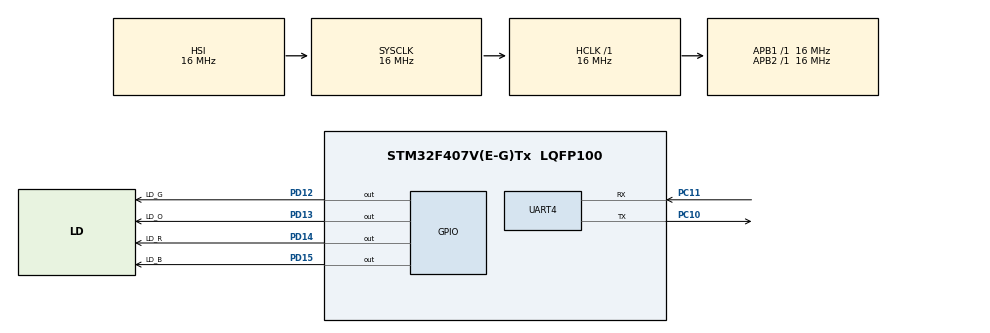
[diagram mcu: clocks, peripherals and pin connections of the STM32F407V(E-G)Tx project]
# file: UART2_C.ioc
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Mcu.Family=STM32F4
Mcu.Name=STM32F407V(E-G)Tx
Mcu.Package=LQFP100
NVIC.PriorityGroup=NVIC_PRIORITYGROUP_4
NVIC.UART4_IRQn=true\:0\:0\:false\:false\:true\:true\:true\:true
PC10.Mode=Asynchronous
PC10.Signal=UART4_TX
PC11.Mode=Asynchronous
PC11.Signal=UART4_RX
PD12.GPIO_Label=LD_G
PD12.Signal=GPIO_Output
PD13.GPIO_Label=LD_O
PD13.Signal=GPIO_Output
PD14.GPIO_Label=LD_R
PD14.Signal=GPIO_Output
PD15.GPIO_Label=LD_B
PD15.Signal=GPIO_Output
ProjectManager.HeapSize=0x200
ProjectManager.StackSize=0x400
ProjectManager.TargetToolchain=STM32CubeIDE
RCC.AHBFreq_Value=16000000
RCC.APB1Freq_Value=16000000
RCC.APB2Freq_Value=16000000
RCC.CortexFreq_Value=16000000
RCC.HSE_VALUE=25000000
RCC.HSI_VALUE=16000000
RCC.LSE_VALUE=32768
RCC.SYSCLKFreq_VALUE=16000000
RCC.VCOOutputFreq_Value=192000000
UART4.VirtualMode=Asynchronous
board=custom

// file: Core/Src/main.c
/* USER CODE BEGIN Header */
/**
  ******************************************************************************
  * @file           : main.c
  * @brief          : Main program body
  ******************************************************************************
  * @attention
  *
  * Copyright (c) 2025 STMicroelectronics.
  * All rights reserved.
  *
  * This software is licensed under terms that can be found in the LICENSE file
  * in the root directory of this software component.
  * If no LICENSE file comes with this software, it is provided AS-IS.
  *
  ******************************************************************************
  */
/* USER CODE END Header */
#include "main.h"

UART_HandleTypeDef huart4;

/* USER CODE BEGIN PV */
uint8_t rx_indx;
uint8_t rx_data[1];
uint8_t rx_buffer[10];
uint8_t transfer_cplt;
/* USER CODE END PV */

void SystemClock_Config(void);
static void MX_GPIO_Init(void);
static void MX_UART4_Init(void);

int main(void)
{

  /* MCU Configuration--------------------------------------------------------*/

  /* Reset of all peripherals, Initializes the Flash interface and the Systick. */
  HAL_Init();

  /* Configure the system clock */
  SystemClock_Config();

  /* Initialize all configured peripherals */
  MX_GPIO_Init();
  MX_UART4_Init();
  /* USER CODE BEGIN 2 */
  HAL_UART_Receive_IT(&huart4, rx_data, 1); // Start UART reception in interrupt mode
  /* USER CODE END 2 */

  /* Infinite loop */
  while (1)
  {

  }
}

void SystemClock_Config(void)
{
  RCC_OscInitTypeDef RCC_OscInitStruct = {0};
  RCC_ClkInitTypeDef RCC_ClkInitStruct = {0};

  /** Configure the main internal regulator output voltage
  */
  __HAL_RCC_PWR_CLK_ENABLE();
  __HAL_PWR_VOLTAGESCALING_CONFIG(PWR_REGULATOR_VOLTAGE_SCALE1);

  /** Initializes the RCC Oscillators according to the specified parameters
  * in the RCC_OscInitTypeDef structure.
  */
  RCC_OscInitStruct.OscillatorType = RCC_OSCILLATORTYPE_HSI;
  RCC_OscInitStruct.HSIState = RCC_HSI_ON;
  RCC_OscInitStruct.HSICalibrationValue = RCC_HSICALIBRATION_DEFAULT;
  RCC_OscInitStruct.PLL.PLLState = RCC_PLL_NONE;
  if (HAL_RCC_OscConfig(&RCC_OscInitStruct) != HAL_OK)
  {
    Error_Handler();
  }

  /** Initializes the CPU, AHB and APB buses clocks
  */
  RCC_ClkInitStruct.ClockType = RCC_CLOCKTYPE_HCLK|RCC_CLOCKTYPE_SYSCLK
                              |RCC_CLOCKTYPE_PCLK1|RCC_CLOCKTYPE_PCLK2;
  RCC_ClkInitStruct.SYSCLKSource = RCC_SYSCLKSOURCE_HSI;
  RCC_ClkInitStruct.AHBCLKDivider = RCC_SYSCLK_DIV1;
  RCC_ClkInitStruct.APB1CLKDivider = RCC_HCLK_DIV1;
  RCC_ClkInitStruct.APB2CLKDivider = RCC_HCLK_DIV1;

  if (HAL_RCC_ClockConfig(&RCC_ClkInitStruct, FLASH_LATENCY_0) != HAL_OK)
  {
    Error_Handler();
  }
}

static void MX_UART4_Init(void)
{

  huart4.Instance = UART4;
  huart4.Init.BaudRate = 115200;
  huart4.Init.WordLength = UART_WORDLENGTH_8B;
  huart4.Init.StopBits = UART_STOPBITS_1;
  huart4.Init.Parity = UART_PARITY_NONE;
  huart4.Init.Mode = UART_MODE_TX_RX;
  huart4.Init.HwFlowCtl = UART_HWCONTROL_NONE;
  huart4.Init.OverSampling = UART_OVERSAMPLING_16;
  if (HAL_UART_Init(&huart4) != HAL_OK)
  {
    Error_Handler();
  }

}

static void MX_GPIO_Init(void)
{
  GPIO_InitTypeDef GPIO_InitStruct = {0};

  /* GPIO Ports Clock Enable */
  __HAL_RCC_GPIOD_CLK_ENABLE();
  __HAL_RCC_GPIOC_CLK_ENABLE();

  /*Configure GPIO pin Output Level */
  HAL_GPIO_WritePin(GPIOD, LD_G_Pin|LD_O_Pin|LD_R_Pin|LD_B_Pin, GPIO_PIN_RESET);

  /*Configure GPIO pins : LD_G_Pin LD_O_Pin LD_R_Pin LD_B_Pin */
  GPIO_InitStruct.Pin = LD_G_Pin|LD_O_Pin|LD_R_Pin|LD_B_Pin;
  GPIO_InitStruct.Mode = GPIO_MODE_OUTPUT_PP;
  GPIO_InitStruct.Pull = GPIO_NOPULL;
  GPIO_InitStruct.Speed = GPIO_SPEED_FREQ_LOW;
  HAL_GPIO_Init(GPIOD, &GPIO_InitStruct);

}

/* USER CODE BEGIN 4 */
void HAL_UART_RxCpltCallback(UART_HandleTypeDef *huart) // Callback for UART reception complete
{
    UNUSED(huart);

    if(huart->Instance == UART4)
    {
        if(rx_data[0] == '1')   // If received '1'
        {
            HAL_GPIO_WritePin(GPIOD, GPIO_PIN_12, GPIO_PIN_SET);
            uint8_t msg = '2'; // Send '2' back
            HAL_UART_Transmit(&huart4, &msg, 1, 100);
            HAL_GPIO_WritePin(GPIOD, GPIO_PIN_13, GPIO_PIN_RESET);
            HAL_GPIO_WritePin(GPIOD, GPIO_PIN_14, GPIO_PIN_RESET);
            HAL_GPIO_WritePin(GPIOD, GPIO_PIN_15, GPIO_PIN_RESET);
        }
        else if(rx_data[0] == '3') // If received '3'
        {
            HAL_GPIO_WritePin(GPIOD, GPIO_PIN_13, GPIO_PIN_SET);
            uint8_t msg = '4'; // Send '4' back
            HAL_UART_Transmit(&huart4, &msg, 1, 100);
            HAL_GPIO_WritePin(GPIOD, GPIO_PIN_12, GPIO_PIN_RESET);
            HAL_GPIO_WritePin(GPIOD, GPIO_PIN_14, GPIO_PIN_RESET);
            HAL_GPIO_WritePin(GPIOD, GPIO_PIN_15, GPIO_PIN_RESET);
        }
        else if(rx_data[0] == '5') // If received '5'
        {
             HAL_GPIO_WritePin(GPIOD, GPIO_PIN_14, GPIO_PIN_SET);
             uint8_t msg = '6'; // Send '6' back
             HAL_UART_Transmit(&huart4, &msg, 1, 100);
             HAL_GPIO_WritePin(GPIOD, GPIO_PIN_12, GPIO_PIN_RESET);
             HAL_GPIO_WritePin(GPIOD, GPIO_PIN_13, GPIO_PIN_RESET);
             HAL_GPIO_WritePin(GPIOD, GPIO_PIN_15, GPIO_PIN_RESET);
        }
        else if(rx_data[0] == '7') // If received '7'
        {
            HAL_GPIO_WritePin(GPIOD, GPIO_PIN_15, GPIO_PIN_SET);
            uint8_t msg = '8'; // Send '8' back
            HAL_UART_Transmit(&huart4, &msg, 1, 100);
            HAL_GPIO_WritePin(GPIOD, GPIO_PIN_12, GPIO_PIN_RESET);
            HAL_GPIO_WritePin(GPIOD, GPIO_PIN_13, GPIO_PIN_RESET);
            HAL_GPIO_WritePin(GPIOD, GPIO_PIN_14, GPIO_PIN_RESET);
        }

        // Restart UART reception
        HAL_UART_Receive_IT(&huart4, rx_data, 1);
    }
}

/* USER CODE END 4 */

void Error_Handler(void)
{
  __disable_irq();
  while (1)
  {
  }
}
